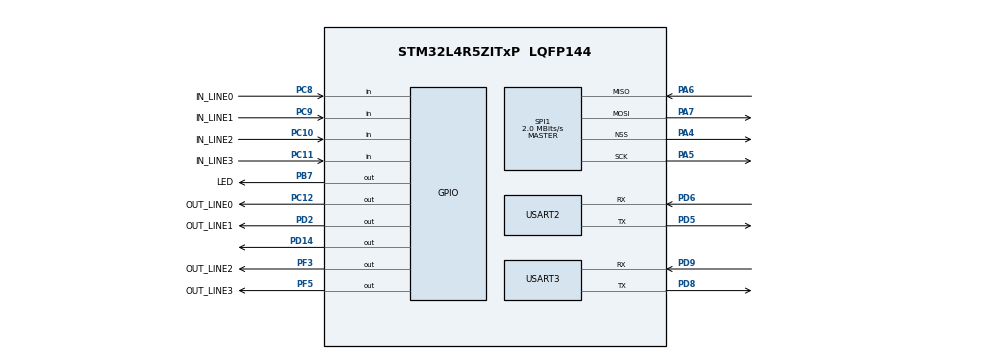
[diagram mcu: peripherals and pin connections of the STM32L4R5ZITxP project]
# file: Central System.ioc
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Mcu.Family=STM32L4
Mcu.Name=STM32L4R5ZITxP
Mcu.Package=LQFP144
NVIC.PriorityGroup=NVIC_PRIORITYGROUP_4
NVIC.USART2_IRQn=true\:0\:0\:false\:false\:true\:true\:true\:true
NVIC.USART3_IRQn=true\:0\:0\:false\:false\:true\:true\:true\:true
PA0.Signal=S_TIM2_CH1
PA1.Signal=ADCx_IN6
PA10.Signal=USB_OTG_FS_ID
PA13\ (JTMS/SWDIO).Signal=SYS_JTMS-SWDIO
PA14\ (JTCK/SWCLK).Signal=SYS_JTCK-SWCLK
PA3.Signal=ADCx_IN8
PA4.Mode=NSS_Signal_Hard_Output
PA4.Signal=SPI1_NSS
PA5.Mode=Full_Duplex_Master
PA5.Signal=SPI1_SCK
PA6.Mode=Full_Duplex_Master
PA6.Signal=SPI1_MISO
PA7.Mode=Full_Duplex_Master
PA7.Signal=SPI1_MOSI
PA8.Signal=USB_OTG_FS_SOF
PA9.Signal=USB_OTG_FS_VBUS
PB0.Signal=S_TIM3_CH3
PB1.Signal=ADCx_IN16
PB10.Signal=S_TIM2_CH3
PB12.Signal=SAI2_FS_A
PB13.Signal=SAI2_SCK_A
PB14.Signal=S_TIM15_CH1
PB15.Signal=SAI2_SD_A
PB2.Signal=COMP1_INP
PB3\ (JTDO/TRACESWO).Signal=SPI3_SCK
PB4\ (NJTRST).Signal=SPI3_MISO
PB5.Signal=SPI3_MOSI
PB6.Signal=COMP2_INP
PB7.GPIO_FM7=__NULL
PB7.GPIO_Label=LED
PB7.Signal=GPIO_Output
PB8.Signal=I2C1_SCL
PB9.Signal=I2C1_SDA
PC0.Signal=ADCx_IN1
PC1.Signal=ADCx_IN2
PC10.GPIO_Label=IN_LINE2
PC10.GPIO_Mode=GPIO_MODE_INPUT
PC10.GPIO_PuPd=GPIO_PULLDOWN
PC10.Signal=GPIO_Input
PC11.GPIO_Label=IN_LINE3
PC11.GPIO_Mode=GPIO_MODE_INPUT
PC11.GPIO_PuPd=GPIO_PULLDOWN
PC11.Signal=GPIO_Input
PC12.GPIO_Label=OUT_LINE0
PC12.Signal=GPIO_Output
PC13.Signal=SYS_WKUP2
PC14-OSC32_IN\ (PC14).Signal=RCC_OSC32_IN
PC15-OSC32_OUT\ (PC15).Signal=RCC_OSC32_OUT
PC2.Signal=ADCx_IN3
PC3.Signal=ADCx_IN4
PC4.Signal=ADCx_IN13
PC5.Signal=ADCx_IN14
PC6.Signal=SAI2_MCLK_A
PC7.Signal=S_TIM3_CH2
PC8.GPIO_Label=IN_LINE0
PC8.GPIO_Mode=GPIO_MODE_INPUT
PC8.GPIO_PuPd=GPIO_PULLDOWN
PC8.Signal=GPIO_Input
PC9.GPIO_Label=IN_LINE1
PC9.GPIO_Mode=GPIO_MODE_INPUT
PC9.GPIO_PuPd=GPIO_PULLDOWN
PC9.Signal=GPIO_Input
PD0.Signal=CAN1_RX
PD14.GPIO_Speed=GPIO_SPEED_FREQ_VERY_HIGH
PD14.PinState=GPIO_PIN_RESET
PD14.Signal=GPIO_Output
PD15.Signal=S_TIM4_CH4
PD2.GPIO_Label=OUT_LINE1
PD2.Signal=GPIO_Output
PD3.Signal=USART2_CTS
PD4.Signal=USART2_RTS
PD5.Mode=Asynchronous
PD5.Signal=USART2_TX
PD6.Mode=Asynchronous
PD6.Signal=USART2_RX
PD8.Mode=Asynchronous
PD8.Signal=USART3_TX
PD9.Mode=Asynchronous
PD9.Signal=USART3_RX
PE0.Signal=S_TIM4_ETR
PE10.Signal=TIM1_CH2N
PE11.Signal=S_TIM1_CH2
PE12.Signal=TIM1_CH3N
PE13.Signal=S_TIM1_CH3
PE14.Signal=TIM1_BKIN2
PE15.Signal=TIM1_BKIN
PE2.Signal=SAI1_MCLK_A
PE3.Signal=SAI1_SD_B
PE7.Signal=S_TIM1_ETR
PE8.Signal=TIM1_CH1N
PE9.Signal=S_TIM1_CH1
PF0.Signal=I2C2_SDA
PF1.Signal=I2C2_SCL
PF2.Signal=I2C2_SMBA
PF3.GPIO_Label=OUT_LINE2
PF3.Signal=GPIO_Output
PF5.GPIO_Label=OUT_LINE3
PF5.Signal=GPIO_Output
PF7.Signal=SAI1_MCLK_B
PG7.Signal=LPUART1_TX
PG8.Signal=LPUART1_RX
PH0-OSC_IN\ (PH0).Signal=RCC_OSC_IN
PH1-OSC_OUT\ (PH1).Signal=RCC_OSC_OUT
ProjectManager.HeapSize=0x200
ProjectManager.StackSize=0x400
ProjectManager.TargetToolchain=STM32CubeIDE
RCC.HSE_VALUE=8000000
RCC.HSI48_VALUE=48000000
RCC.HSI_VALUE=16000000
RCC.LSE_VALUE=32768
RCC.MSI_VALUE=4000000
RCC.VCOOutputFreq_Value=32000000
SH.ADCx_IN1.0=ADC1_IN1
SH.ADCx_IN13.0=ADC1_IN13
SH.ADCx_IN14.0=ADC1_IN14
SH.ADCx_IN16.0=ADC1_IN16
SH.ADCx_IN2.0=ADC1_IN2
SH.ADCx_IN3.0=ADC1_IN3
SH.ADCx_IN4.0=ADC1_IN4
SH.ADCx_IN6.0=ADC1_IN6
SH.ADCx_IN8.0=ADC1_IN8
SH.S_TIM15_CH1.0=TIM15_CH1
SH.S_TIM1_CH1.0=TIM1_CH1
SH.S_TIM1_CH2.0=TIM1_CH2
SH.S_TIM1_CH3.0=TIM1_CH3
SH.S_TIM1_ETR.0=TIM1_ETR
SH.S_TIM2_CH1.0=TIM2_CH1
SH.S_TIM2_CH3.0=TIM2_CH3
SH.S_TIM3_CH2.0=TIM3_CH2
SH.S_TIM3_CH3.0=TIM3_CH3
SH.S_TIM4_CH4.0=TIM4_CH4
SH.S_TIM4_ETR.0=TIM4_ETR
SPI1.BaudRatePrescaler=SPI_BAUDRATEPRESCALER_2
SPI1.CalculateBaudRate=2.0 MBits/s
SPI1.DataSize=SPI_DATASIZE_8BIT
SPI1.Direction=SPI_DIRECTION_2LINES
SPI1.Mode=SPI_MODE_MASTER
SPI1.VirtualNSS=VM_NSSHARD
SPI1.VirtualType=VM_MASTER
USART2.FIFOMode=FIFOMODE_ENABLE
USART2.VirtualMode-Asynchronous=VM_ASYNC
USART3.FIFOMode=FIFOMODE_ENABLE
USART3.VirtualMode-Asynchronous=VM_ASYNC
board=NUCLEO-L4R5ZI-P

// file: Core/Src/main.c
/* USER CODE BEGIN Header */
/**
  ******************************************************************************
  * @file           : main.c
  * @brief          : Main program body
  ******************************************************************************
  * @attention
  *
  * Copyright (c) 2022 STMicroelectronics.
  * All rights reserved.
  *
  * This software is licensed under terms that can be found in the LICENSE file
  * in the root directory of this software component.
  * If no LICENSE file comes with this software, it is provided AS-IS.
  *
  ******************************************************************************
  */

  /*
   * USART2 handles motion detection modules
   * 	Interrupts are signaled when this happens.
   * USART3 handles communication between central system and robots
   *
   */
/* USER CODE END Header */
#include "main.h"

/* USER CODE BEGIN Includes */
#include "graphicsDisplay.h"
/* USER CODE END Includes */

 SPI_HandleTypeDef hspi1;

UART_HandleTypeDef huart2;
UART_HandleTypeDef huart3;

/* USER CODE BEGIN PV */

// TODO: These are made to be sent through UART. I'm not sure if the transmit function is ok with this.

enum Command {
	ARM = 1,
	DISARM,
	SCOUT
};

enum Location {
	LIVING_ROOM = 1,
	KITCHEN,
	BEDROOM
};

uint8_t armed = 0;
extern uint8_t picture[IMAGE_BYTES];
uint8_t buf[3] = {0}; // For USART2

/* USER CODE END PV */

void SystemClock_Config(void);
static void MX_GPIO_Init(void);
static void MX_USART2_UART_Init(void);
static void MX_USART3_UART_Init(void);
static void MX_SPI1_Init(void);
/* USER CODE BEGIN PFP */

/*
 * Handles all keypad processing using polling method.
 * Returns 1 if the correct password has been detected.
 * 	This will be 1 for only a single function call, then the progress will be cleared.
 * Returns 0 if the correct password has not yet been detected.
 */
uint8_t keypad(void);
void toggleArmed(UART_HandleTypeDef *huart);

/* USER CODE END PFP */

int main(void)
{

  /* MCU Configuration--------------------------------------------------------*/

  /* Reset of all peripherals, Initializes the Flash interface and the Systick. */
  HAL_Init();

  /* Configure the system clock */
  SystemClock_Config();

  /* Initialize all configured peripherals */
  MX_GPIO_Init();
  MX_USART2_UART_Init();
  MX_USART3_UART_Init();
  MX_SPI1_Init();
  /* USER CODE BEGIN 2 */
  graphicsDisplayInit(&hspi1);
  //HAL_UART_Receive_DMA(&huart3, picture, IMAGE_BYTES);
  // Should fill picture array in nonblocking way
  // Drawing Picture is currently blocking
  HAL_UART_Receive_IT (&huart2, buf, 1);
  HAL_UART_Receive_IT (&huart3, picture, IMAGE_BYTES);
  /* USER CODE END 2 */

  /* Infinite loop */
  while (1)
  {

    /* USER CODE BEGIN 3 */

	// Keypad
	if(keypad() == 1) {
		toggleArmed(&huart3);
	}
	distributedPrintPicture(&hspi1);

  }
  /* USER CODE END 3 */
}

void SystemClock_Config(void)
{
  RCC_OscInitTypeDef RCC_OscInitStruct = {0};
  RCC_ClkInitTypeDef RCC_ClkInitStruct = {0};

  /** Configure the main internal regulator output voltage
  */
  if (HAL_PWREx_ControlVoltageScaling(PWR_REGULATOR_VOLTAGE_SCALE1) != HAL_OK)
  {
    Error_Handler();
  }

  /** Initializes the RCC Oscillators according to the specified parameters
  * in the RCC_OscInitTypeDef structure.
  */
  RCC_OscInitStruct.OscillatorType = RCC_OSCILLATORTYPE_MSI;
  RCC_OscInitStruct.MSIState = RCC_MSI_ON;
  RCC_OscInitStruct.MSICalibrationValue = 0;
  RCC_OscInitStruct.MSIClockRange = RCC_MSIRANGE_6;
  RCC_OscInitStruct.PLL.PLLState = RCC_PLL_NONE;
  if (HAL_RCC_OscConfig(&RCC_OscInitStruct) != HAL_OK)
  {
    Error_Handler();
  }

  /** Initializes the CPU, AHB and APB buses clocks
  */
  RCC_ClkInitStruct.ClockType = RCC_CLOCKTYPE_HCLK|RCC_CLOCKTYPE_SYSCLK
                              |RCC_CLOCKTYPE_PCLK1|RCC_CLOCKTYPE_PCLK2;
  RCC_ClkInitStruct.SYSCLKSource = RCC_SYSCLKSOURCE_MSI;
  RCC_ClkInitStruct.AHBCLKDivider = RCC_SYSCLK_DIV1;
  RCC_ClkInitStruct.APB1CLKDivider = RCC_HCLK_DIV1;
  RCC_ClkInitStruct.APB2CLKDivider = RCC_HCLK_DIV1;

  if (HAL_RCC_ClockConfig(&RCC_ClkInitStruct, FLASH_LATENCY_0) != HAL_OK)
  {
    Error_Handler();
  }
}

static void MX_SPI1_Init(void)
{

  /* SPI1 parameter configuration*/
  hspi1.Instance = SPI1;
  hspi1.Init.Mode = SPI_MODE_MASTER;
  hspi1.Init.Direction = SPI_DIRECTION_2LINES;
  hspi1.Init.DataSize = SPI_DATASIZE_8BIT;
  hspi1.Init.CLKPolarity = SPI_POLARITY_LOW;
  hspi1.Init.CLKPhase = SPI_PHASE_1EDGE;
  hspi1.Init.NSS = SPI_NSS_HARD_OUTPUT;
  hspi1.Init.BaudRatePrescaler = SPI_BAUDRATEPRESCALER_2;
  hspi1.Init.FirstBit = SPI_FIRSTBIT_MSB;
  hspi1.Init.TIMode = SPI_TIMODE_DISABLE;
  hspi1.Init.CRCCalculation = SPI_CRCCALCULATION_DISABLE;
  hspi1.Init.CRCPolynomial = 7;
  hspi1.Init.CRCLength = SPI_CRC_LENGTH_DATASIZE;
  hspi1.Init.NSSPMode = SPI_NSS_PULSE_ENABLE;
  if (HAL_SPI_Init(&hspi1) != HAL_OK)
  {
    Error_Handler();
  }

}

static void MX_USART2_UART_Init(void)
{

  huart2.Instance = USART2;
  huart2.Init.BaudRate = 115200;
  huart2.Init.WordLength = UART_WORDLENGTH_8B;
  huart2.Init.StopBits = UART_STOPBITS_1;
  huart2.Init.Parity = UART_PARITY_NONE;
  huart2.Init.Mode = UART_MODE_TX_RX;
  huart2.Init.HwFlowCtl = UART_HWCONTROL_NONE;
  huart2.Init.OverSampling = UART_OVERSAMPLING_16;
  huart2.Init.OneBitSampling = UART_ONE_BIT_SAMPLE_DISABLE;
  huart2.Init.ClockPrescaler = UART_PRESCALER_DIV1;
  huart2.AdvancedInit.AdvFeatureInit = UART_ADVFEATURE_NO_INIT;
  if (HAL_UART_Init(&huart2) != HAL_OK)
  {
    Error_Handler();
  }
  if (HAL_UARTEx_SetTxFifoThreshold(&huart2, UART_TXFIFO_THRESHOLD_1_8) != HAL_OK)
  {
    Error_Handler();
  }
  if (HAL_UARTEx_SetRxFifoThreshold(&huart2, UART_RXFIFO_THRESHOLD_1_8) != HAL_OK)
  {
    Error_Handler();
  }
  if (HAL_UARTEx_EnableFifoMode(&huart2) != HAL_OK)
  {
    Error_Handler();
  }

}

static void MX_USART3_UART_Init(void)
{

  huart3.Instance = USART3;
  huart3.Init.BaudRate = 115200;
  huart3.Init.WordLength = UART_WORDLENGTH_8B;
  huart3.Init.StopBits = UART_STOPBITS_1;
  huart3.Init.Parity = UART_PARITY_NONE;
  huart3.Init.Mode = UART_MODE_TX_RX;
  huart3.Init.HwFlowCtl = UART_HWCONTROL_NONE;
  huart3.Init.OverSampling = UART_OVERSAMPLING_16;
  huart3.Init.OneBitSampling = UART_ONE_BIT_SAMPLE_DISABLE;
  huart3.Init.ClockPrescaler = UART_PRESCALER_DIV1;
  huart3.AdvancedInit.AdvFeatureInit = UART_ADVFEATURE_NO_INIT;
  if (HAL_UART_Init(&huart3) != HAL_OK)
  {
    Error_Handler();
  }
  if (HAL_UARTEx_SetTxFifoThreshold(&huart3, UART_TXFIFO_THRESHOLD_1_8) != HAL_OK)
  {
    Error_Handler();
  }
  if (HAL_UARTEx_SetRxFifoThreshold(&huart3, UART_RXFIFO_THRESHOLD_1_8) != HAL_OK)
  {
    Error_Handler();
  }
  if (HAL_UARTEx_EnableFifoMode(&huart3) != HAL_OK)
  {
    Error_Handler();
  }

}

static void MX_GPIO_Init(void)
{
  GPIO_InitTypeDef GPIO_InitStruct = {0};

  /* GPIO Ports Clock Enable */
  __HAL_RCC_GPIOE_CLK_ENABLE();
  __HAL_RCC_GPIOC_CLK_ENABLE();
  __HAL_RCC_GPIOF_CLK_ENABLE();
  __HAL_RCC_GPIOH_CLK_ENABLE();
  __HAL_RCC_GPIOA_CLK_ENABLE();
  __HAL_RCC_GPIOB_CLK_ENABLE();
  __HAL_RCC_GPIOD_CLK_ENABLE();
  __HAL_RCC_GPIOG_CLK_ENABLE();
  HAL_PWREx_EnableVddIO2();

  /*Configure GPIO pin Output Level */
  HAL_GPIO_WritePin(GPIOF, OUT_LINE2_Pin|OUT_LINE3_Pin, GPIO_PIN_RESET);

  /*Configure GPIO pin Output Level */
  HAL_GPIO_WritePin(GPIOD, GPIO_PIN_14|OUT_LINE1_Pin, GPIO_PIN_RESET);

  /*Configure GPIO pin Output Level */
  HAL_GPIO_WritePin(OUT_LINE0_GPIO_Port, OUT_LINE0_Pin, GPIO_PIN_RESET);

  /*Configure GPIO pin Output Level */
  HAL_GPIO_WritePin(LED_GPIO_Port, LED_Pin, GPIO_PIN_RESET);

  /*Configure GPIO pins : PE2 PE3 */
  GPIO_InitStruct.Pin = GPIO_PIN_2|GPIO_PIN_3;
  GPIO_InitStruct.Mode = GPIO_MODE_AF_PP;
  GPIO_InitStruct.Pull = GPIO_NOPULL;
  GPIO_InitStruct.Speed = GPIO_SPEED_FREQ_LOW;
  GPIO_InitStruct.Alternate = GPIO_AF13_SAI1;
  HAL_GPIO_Init(GPIOE, &GPIO_InitStruct);

  /*Configure GPIO pins : PF0 PF1 PF2 */
  GPIO_InitStruct.Pin = GPIO_PIN_0|GPIO_PIN_1|GPIO_PIN_2;
  GPIO_InitStruct.Mode = GPIO_MODE_AF_OD;
  GPIO_InitStruct.Pull = GPIO_NOPULL;
  GPIO_InitStruct.Speed = GPIO_SPEED_FREQ_VERY_HIGH;
  GPIO_InitStruct.Alternate = GPIO_AF4_I2C2;
  HAL_GPIO_Init(GPIOF, &GPIO_InitStruct);

  /*Configure GPIO pins : OUT_LINE2_Pin OUT_LINE3_Pin */
  GPIO_InitStruct.Pin = OUT_LINE2_Pin|OUT_LINE3_Pin;
  GPIO_InitStruct.Mode = GPIO_MODE_OUTPUT_PP;
  GPIO_InitStruct.Pull = GPIO_NOPULL;
  GPIO_InitStruct.Speed = GPIO_SPEED_FREQ_LOW;
  HAL_GPIO_Init(GPIOF, &GPIO_InitStruct);

  /*Configure GPIO pin : PF7 */
  GPIO_InitStruct.Pin = GPIO_PIN_7;
  GPIO_InitStruct.Mode = GPIO_MODE_AF_PP;
  GPIO_InitStruct.Pull = GPIO_NOPULL;
  GPIO_InitStruct.Speed = GPIO_SPEED_FREQ_LOW;
  GPIO_InitStruct.Alternate = GPIO_AF13_SAI1;
  HAL_GPIO_Init(GPIOF, &GPIO_InitStruct);

  /*Configure GPIO pins : PC0 PC1 PC2 PC3
                           PC4 PC5 */
  GPIO_InitStruct.Pin = GPIO_PIN_0|GPIO_PIN_1|GPIO_PIN_2|GPIO_PIN_3
                          |GPIO_PIN_4|GPIO_PIN_5;
  GPIO_InitStruct.Mode = GPIO_MODE_ANALOG_ADC_CONTROL;
  GPIO_InitStruct.Pull = GPIO_NOPULL;
  HAL_GPIO_Init(GPIOC, &GPIO_InitStruct);

  /*Configure GPIO pin : PA0 */
  GPIO_InitStruct.Pin = GPIO_PIN_0;
  GPIO_InitStruct.Mode = GPIO_MODE_AF_PP;
  GPIO_InitStruct.Pull = GPIO_NOPULL;
  GPIO_InitStruct.Speed = GPIO_SPEED_FREQ_LOW;
  GPIO_InitStruct.Alternate = GPIO_AF1_TIM2;
  HAL_GPIO_Init(GPIOA, &GPIO_InitStruct);

  /*Configure GPIO pins : PA1 PA3 */
  GPIO_InitStruct.Pin = GPIO_PIN_1|GPIO_PIN_3;
  GPIO_InitStruct.Mode = GPIO_MODE_ANALOG_ADC_CONTROL;
  GPIO_InitStruct.Pull = GPIO_NOPULL;
  HAL_GPIO_Init(GPIOA, &GPIO_InitStruct);

  /*Configure GPIO pin : PB0 */
  GPIO_InitStruct.Pin = GPIO_PIN_0;
  GPIO_InitStruct.Mode = GPIO_MODE_AF_PP;
  GPIO_InitStruct.Pull = GPIO_NOPULL;
  GPIO_InitStruct.Speed = GPIO_SPEED_FREQ_LOW;
  GPIO_InitStruct.Alternate = GPIO_AF2_TIM3;
  HAL_GPIO_Init(GPIOB, &GPIO_InitStruct);

  /*Configure GPIO pin : PB1 */
  GPIO_InitStruct.Pin = GPIO_PIN_1;
  GPIO_InitStruct.Mode = GPIO_MODE_ANALOG_ADC_CONTROL;
  GPIO_InitStruct.Pull = GPIO_NOPULL;
  HAL_GPIO_Init(GPIOB, &GPIO_InitStruct);

  /*Configure GPIO pins : PB2 PB6 */
  GPIO_InitStruct.Pin = GPIO_PIN_2|GPIO_PIN_6;
  GPIO_InitStruct.Mode = GPIO_MODE_ANALOG;
  GPIO_InitStruct.Pull = GPIO_NOPULL;
  HAL_GPIO_Init(GPIOB, &GPIO_InitStruct);

  /*Configure GPIO pins : PE7 PE8 PE9 PE10
                           PE11 PE12 PE13 */
  GPIO_InitStruct.Pin = GPIO_PIN_7|GPIO_PIN_8|GPIO_PIN_9|GPIO_PIN_10
                          |GPIO_PIN_11|GPIO_PIN_12|GPIO_PIN_13;
  GPIO_InitStruct.Mode = GPIO_MODE_AF_PP;
  GPIO_InitStruct.Pull = GPIO_NOPULL;
  GPIO_InitStruct.Speed = GPIO_SPEED_FREQ_LOW;
  GPIO_InitStruct.Alternate = GPIO_AF1_TIM1;
  HAL_GPIO_Init(GPIOE, &GPIO_InitStruct);

  /*Configure GPIO pins : PE14 PE15 */
  GPIO_InitStruct.Pin = GPIO_PIN_14|GPIO_PIN_15;
  GPIO_InitStruct.Mode = GPIO_MODE_AF_PP;
  GPIO_InitStruct.Pull = GPIO_NOPULL;
  GPIO_InitStruct.Speed = GPIO_SPEED_FREQ_LOW;
  GPIO_InitStruct.Alternate = GPIO_AF3_TIM1_COMP1;
  HAL_GPIO_Init(GPIOE, &GPIO_InitStruct);

  /*Configure GPIO pin : PB10 */
  GPIO_InitStruct.Pin = GPIO_PIN_10;
  GPIO_InitStruct.Mode = GPIO_MODE_AF_PP;
  GPIO_InitStruct.Pull = GPIO_NOPULL;
  GPIO_InitStruct.Speed = GPIO_SPEED_FREQ_LOW;
  GPIO_InitStruct.Alternate = GPIO_AF1_TIM2;
  HAL_GPIO_Init(GPIOB, &GPIO_InitStruct);

  /*Configure GPIO pins : PB12 PB13 PB15 */
  GPIO_InitStruct.Pin = GPIO_PIN_12|GPIO_PIN_13|GPIO_PIN_15;
  GPIO_InitStruct.Mode = GPIO_MODE_AF_PP;
  GPIO_InitStruct.Pull = GPIO_NOPULL;
  GPIO_InitStruct.Speed = GPIO_SPEED_FREQ_LOW;
  GPIO_InitStruct.Alternate = GPIO_AF13_SAI2;
  HAL_GPIO_Init(GPIOB, &GPIO_InitStruct);

  /*Configure GPIO pin : PB14 */
  GPIO_InitStruct.Pin = GPIO_PIN_14;
  GPIO_InitStruct.Mode = GPIO_MODE_AF_PP;
  GPIO_InitStruct.Pull = GPIO_NOPULL;
  GPIO_InitStruct.Speed = GPIO_SPEED_FREQ_LOW;
  GPIO_InitStruct.Alternate = GPIO_AF14_TIM15;
  HAL_GPIO_Init(GPIOB, &GPIO_InitStruct);

  /*Configure GPIO pin : PD14 */
  GPIO_InitStruct.Pin = GPIO_PIN_14;
  GPIO_InitStruct.Mode = GPIO_MODE_OUTPUT_PP;
  GPIO_InitStruct.Pull = GPIO_NOPULL;
  GPIO_InitStruct.Speed = GPIO_SPEED_FREQ_VERY_HIGH;
  HAL_GPIO_Init(GPIOD, &GPIO_InitStruct);

  /*Configure GPIO pin : PD15 */
  GPIO_InitStruct.Pin = GPIO_PIN_15;
  GPIO_InitStruct.Mode = GPIO_MODE_AF_PP;
  GPIO_InitStruct.Pull = GPIO_NOPULL;
  GPIO_InitStruct.Speed = GPIO_SPEED_FREQ_LOW;
  GPIO_InitStruct.Alternate = GPIO_AF2_TIM4;
  HAL_GPIO_Init(GPIOD, &GPIO_InitStruct);

  /*Configure GPIO pins : PG7 PG8 */
  GPIO_InitStruct.Pin = GPIO_PIN_7|GPIO_PIN_8;
  GPIO_InitStruct.Mode = GPIO_MODE_AF_PP;
  GPIO_InitStruct.Pull = GPIO_NOPULL;
  GPIO_InitStruct.Speed = GPIO_SPEED_FREQ_VERY_HIGH;
  GPIO_InitStruct.Alternate = GPIO_AF8_LPUART1;
  HAL_GPIO_Init(GPIOG, &GPIO_InitStruct);

  /*Configure GPIO pin : PC6 */
  GPIO_InitStruct.Pin = GPIO_PIN_6;
  GPIO_InitStruct.Mode = GPIO_MODE_AF_PP;
  GPIO_InitStruct.Pull = GPIO_NOPULL;
  GPIO_InitStruct.Speed = GPIO_SPEED_FREQ_LOW;
  GPIO_InitStruct.Alternate = GPIO_AF13_SAI2;
  HAL_GPIO_Init(GPIOC, &GPIO_InitStruct);

  /*Configure GPIO pin : PC7 */
  GPIO_InitStruct.Pin = GPIO_PIN_7;
  GPIO_InitStruct.Mode = GPIO_MODE_AF_PP;
  GPIO_InitStruct.Pull = GPIO_NOPULL;
  GPIO_InitStruct.Speed = GPIO_SPEED_FREQ_LOW;
  GPIO_InitStruct.Alternate = GPIO_AF2_TIM3;
  HAL_GPIO_Init(GPIOC, &GPIO_InitStruct);

  /*Configure GPIO pins : IN_LINE0_Pin IN_LINE1_Pin IN_LINE2_Pin IN_LINE3_Pin */
  GPIO_InitStruct.Pin = IN_LINE0_Pin|IN_LINE1_Pin|IN_LINE2_Pin|IN_LINE3_Pin;
  GPIO_InitStruct.Mode = GPIO_MODE_INPUT;
  GPIO_InitStruct.Pull = GPIO_PULLDOWN;
  HAL_GPIO_Init(GPIOC, &GPIO_InitStruct);

  /*Configure GPIO pins : PA8 PA10 */
  GPIO_InitStruct.Pin = GPIO_PIN_8|GPIO_PIN_10;
  GPIO_InitStruct.Mode = GPIO_MODE_AF_PP;
  GPIO_InitStruct.Pull = GPIO_NOPULL;
  GPIO_InitStruct.Speed = GPIO_SPEED_FREQ_VERY_HIGH;
  GPIO_InitStruct.Alternate = GPIO_AF10_OTG_FS;
  HAL_GPIO_Init(GPIOA, &GPIO_InitStruct);

  /*Configure GPIO pin : PA9 */
  GPIO_InitStruct.Pin = GPIO_PIN_9;
  GPIO_InitStruct.Mode = GPIO_MODE_INPUT;
  GPIO_InitStruct.Pull = GPIO_NOPULL;
  HAL_GPIO_Init(GPIOA, &GPIO_InitStruct);

  /*Configure GPIO pin : OUT_LINE0_Pin */
  GPIO_InitStruct.Pin = OUT_LINE0_Pin;
  GPIO_InitStruct.Mode = GPIO_MODE_OUTPUT_PP;
  GPIO_InitStruct.Pull = GPIO_NOPULL;
  GPIO_InitStruct.Speed = GPIO_SPEED_FREQ_LOW;
  HAL_GPIO_Init(OUT_LINE0_GPIO_Port, &GPIO_InitStruct);

  /*Configure GPIO pin : PD0 */
  GPIO_InitStruct.Pin = GPIO_PIN_0;
  GPIO_InitStruct.Mode = GPIO_MODE_AF_PP;
  GPIO_InitStruct.Pull = GPIO_NOPULL;
  GPIO_InitStruct.Speed = GPIO_SPEED_FREQ_VERY_HIGH;
  GPIO_InitStruct.Alternate = GPIO_AF9_CAN1;
  HAL_GPIO_Init(GPIOD, &GPIO_InitStruct);

  /*Configure GPIO pin : OUT_LINE1_Pin */
  GPIO_InitStruct.Pin = OUT_LINE1_Pin;
  GPIO_InitStruct.Mode = GPIO_MODE_OUTPUT_PP;
  GPIO_InitStruct.Pull = GPIO_NOPULL;
  GPIO_InitStruct.Speed = GPIO_SPEED_FREQ_LOW;
  HAL_GPIO_Init(OUT_LINE1_GPIO_Port, &GPIO_InitStruct);

  /*Configure GPIO pins : PB3 PB4 PB5 */
  GPIO_InitStruct.Pin = GPIO_PIN_3|GPIO_PIN_4|GPIO_PIN_5;
  GPIO_InitStruct.Mode = GPIO_MODE_AF_PP;
  GPIO_InitStruct.Pull = GPIO_NOPULL;
  GPIO_InitStruct.Speed = GPIO_SPEED_FREQ_VERY_HIGH;
  GPIO_InitStruct.Alternate = GPIO_AF6_SPI3;
  HAL_GPIO_Init(GPIOB, &GPIO_InitStruct);

  /*Configure GPIO pin : LED_Pin */
  GPIO_InitStruct.Pin = LED_Pin;
  GPIO_InitStruct.Mode = GPIO_MODE_OUTPUT_PP;
  GPIO_InitStruct.Pull = GPIO_NOPULL;
  GPIO_InitStruct.Speed = GPIO_SPEED_FREQ_LOW;
  HAL_GPIO_Init(LED_GPIO_Port, &GPIO_InitStruct);

  /*Configure GPIO pins : PB8 PB9 */
  GPIO_InitStruct.Pin = GPIO_PIN_8|GPIO_PIN_9;
  GPIO_InitStruct.Mode = GPIO_MODE_AF_OD;
  GPIO_InitStruct.Pull = GPIO_NOPULL;
  GPIO_InitStruct.Speed = GPIO_SPEED_FREQ_VERY_HIGH;
  GPIO_InitStruct.Alternate = GPIO_AF4_I2C1;
  HAL_GPIO_Init(GPIOB, &GPIO_InitStruct);

  /*Configure GPIO pin : PE0 */
  GPIO_InitStruct.Pin = GPIO_PIN_0;
  GPIO_InitStruct.Mode = GPIO_MODE_AF_PP;
  GPIO_InitStruct.Pull = GPIO_NOPULL;
  GPIO_InitStruct.Speed = GPIO_SPEED_FREQ_LOW;
  GPIO_InitStruct.Alternate = GPIO_AF2_TIM4;
  HAL_GPIO_Init(GPIOE, &GPIO_InitStruct);

}

/* USER CODE BEGIN 4 */
uint8_t keypad(void) {
  // Constants

  const GPIO_TypeDef* input_ports[] = { IN_LINE0_GPIO_Port, IN_LINE1_GPIO_Port, IN_LINE2_GPIO_Port, IN_LINE3_GPIO_Port};
  const uint32_t input_pins[] = { IN_LINE0_Pin, IN_LINE1_Pin, IN_LINE2_Pin, IN_LINE3_Pin};
  const GPIO_TypeDef* output_ports[] = {OUT_LINE0_GPIO_Port, OUT_LINE1_GPIO_Port, OUT_LINE2_GPIO_Port, OUT_LINE3_GPIO_Port};
  const uint32_t output_pins[] = {OUT_LINE0_Pin, OUT_LINE1_Pin, OUT_LINE2_Pin, OUT_LINE3_Pin};
  const char keypad[4][4] = {{'1','2','3','A'}, {'4', '5', '6', 'B'}, {'7','8','9','C'}, {'*', '0', '#', 'D'}};

  // Password Configuration
  static const char* password = "1234";
  static const uint8_t password_length = 4;
  // Number of Correct Character Entries
  static uint8_t password_correct = 0;

  // Output pins shall correspond to rows
  // Input pins shall correspond to cols

  for(uint8_t i = 0; i < 4; i++) { // Iterates through rows
    HAL_GPIO_WritePin(output_ports[i], output_pins[i], GPIO_PIN_SET);

	for(uint8_t j = 0; j < 4; j++) { // Iterates through cols
		GPIO_PinState pin_state = HAL_GPIO_ReadPin(input_ports[j], input_pins[j]);
		if(pin_state == GPIO_PIN_SET)
		{
			// Wait for button to be let go
			while(pin_state == GPIO_PIN_SET){
				pin_state = HAL_GPIO_ReadPin(input_ports[j], input_pins[j]);
				// Flash Blue LED
				HAL_GPIO_WritePin(LED_GPIO_Port, LED_Pin, GPIO_PIN_SET);
			}
			HAL_GPIO_WritePin(LED_GPIO_Port, LED_Pin, GPIO_PIN_RESET);
			// Verify Input
			if(password[password_correct] == keypad[i][j])
			{
				++password_correct;
			}
			else
			{
				password_correct = 0;
				// Account if the latest character is the correct first character
				if(password[0] == keypad[i][j]){
					password_correct++;
				}

			}
			break;
		}
	}
	HAL_GPIO_WritePin(output_ports[i], output_pins[i], GPIO_PIN_RESET);

	// When password is entered
	if(password_correct == password_length) {
		// Flash Blue LED
		HAL_GPIO_WritePin(LED_GPIO_Port, LED_Pin, GPIO_PIN_SET);
		HAL_Delay(300);
		HAL_GPIO_WritePin(LED_GPIO_Port, LED_Pin, GPIO_PIN_RESET);
		password_correct = 0;
		// Return signal
		return 1;
	}
  }
  // Correct Password Not yet detected
  return 0;
}

void toggleArmed(UART_HandleTypeDef *huart) {
	uint8_t buf[1] = {0};
	armed = !armed;
	if(armed) {
		*buf = 'A';
	}
	else {
		*buf = 'D';
	}
	HAL_UART_Transmit(huart, buf, 1, 100);
}

void HAL_UART_RxCpltCallback(UART_HandleTypeDef *huart)
{
  if(huart == &huart2) {
	  HAL_UART_Transmit(&huart3, buf, 1, 100); // Transmit what is in the buffers to the robots
	  HAL_UART_Receive_IT (&huart2, buf, 1);
  }
  else if(huart == &huart3) {
	  //printPicture(&hspi1); // This will block until image finishes
	  resetDistributedPP();
	  HAL_UART_Receive_IT(&huart3, picture, IMAGE_BYTES);
  }
}

/*
void HAL_UART_RxCpltCallback(UART_HandleTypeDef *huart) {
	printPicture(&hspi1); // This is blocking
	// New Idea, in main, print out each line of the picture one at a time
	HAL_UART_Receive_DMA(&huart3, picture, IMAGE_BYTES);
}
*/
/* USER CODE END 4 */

void Error_Handler(void)
{
  __disable_irq();
  while (1)
  {
  }
}
